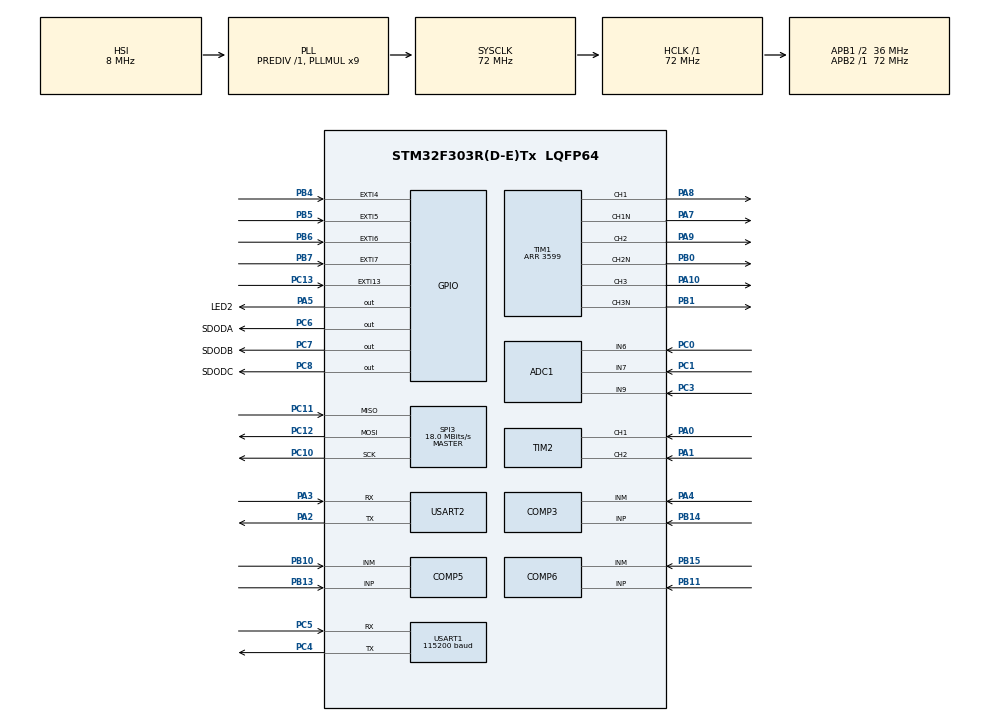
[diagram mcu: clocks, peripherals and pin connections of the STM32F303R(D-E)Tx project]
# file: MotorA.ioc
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ADC1.Channel-5\#ChannelRegularConversion=ADC_CHANNEL_6
ADC1.Channel-6\#ChannelRegularConversion=ADC_CHANNEL_7
ADC1.Channel-7\#ChannelRegularConversion=ADC_CHANNEL_9
ADC1.ClockPrescaler=ADC_CLOCK_SYNC_PCLK_DIV1
ADC1.ContinuousConvMode=DISABLE
ADC1.DMAContinuousRequests=ENABLE
ADC1.EOCSelection=ADC_EOC_SEQ_CONV
ADC1.EnableInjectedConversion=DISABLE
ADC1.EnableRegularConversion=ENABLE
ADC1.ExternalTrigConv=ADC_EXTERNALTRIGCONV_T1_TRGO2
ADC1.ExternalTrigConvEdge=ADC_EXTERNALTRIGCONVEDGE_FALLING
ADC1.NbrOfConversion=3
ADC1.NbrOfConversionFlag=1
ADC1.Offset-5\#ChannelRegularConversion=0
ADC1.Offset-6\#ChannelRegularConversion=0
ADC1.Offset-7\#ChannelRegularConversion=0
ADC1.OffsetNumber-5\#ChannelRegularConversion=ADC_OFFSET_NONE
ADC1.OffsetNumber-6\#ChannelRegularConversion=ADC_OFFSET_NONE
ADC1.OffsetNumber-7\#ChannelRegularConversion=ADC_OFFSET_NONE
ADC1.Rank-5\#ChannelRegularConversion=1
ADC1.Rank-6\#ChannelRegularConversion=2
ADC1.Rank-7\#ChannelRegularConversion=3
ADC1.SamplingTime-5\#ChannelRegularConversion=ADC_SAMPLETIME_2CYCLES_5
ADC1.SamplingTime-6\#ChannelRegularConversion=ADC_SAMPLETIME_2CYCLES_5
ADC1.SamplingTime-7\#ChannelRegularConversion=ADC_SAMPLETIME_2CYCLES_5
ADC1.master=1
Dma.ADC1.0.Direction=DMA_PERIPH_TO_MEMORY
Dma.ADC1.0.Instance=DMA1_Channel1
Dma.ADC1.0.MemDataAlignment=DMA_MDATAALIGN_HALFWORD
Dma.ADC1.0.MemInc=DMA_MINC_ENABLE
Dma.ADC1.0.Mode=DMA_CIRCULAR
Dma.ADC1.0.PeriphDataAlignment=DMA_PDATAALIGN_HALFWORD
Dma.ADC1.0.PeriphInc=DMA_PINC_DISABLE
Dma.ADC1.0.Priority=DMA_PRIORITY_HIGH
Dma.Request0=ADC1
Dma.Request1=USART1_TX
Dma.USART1_TX.1.Direction=DMA_MEMORY_TO_PERIPH
Dma.USART1_TX.1.Instance=DMA1_Channel4
Dma.USART1_TX.1.MemDataAlignment=DMA_MDATAALIGN_BYTE
Dma.USART1_TX.1.MemInc=DMA_MINC_ENABLE
Dma.USART1_TX.1.Mode=DMA_CIRCULAR
Dma.USART1_TX.1.PeriphDataAlignment=DMA_PDATAALIGN_BYTE
Dma.USART1_TX.1.PeriphInc=DMA_PINC_DISABLE
Dma.USART1_TX.1.Priority=DMA_PRIORITY_MEDIUM
Mcu.Family=STM32F3
Mcu.Name=STM32F303R(D-E)Tx
Mcu.Package=LQFP64
NVIC.DMA1_Channel1_IRQn=true\:0\:3\:true\:true\:true\:2\:false\:true
NVIC.DMA1_Channel4_IRQn=true\:1\:3\:true\:true\:true\:3\:false\:true
NVIC.PriorityGroup=NVIC_PRIORITYGROUP_1
NVIC.TIM1_TRG_COM_TIM17_IRQn=true\:0\:4\:true\:true\:true\:1\:true\:true
NVIC.USART1_IRQn=true\:0\:3\:false\:true\:true\:4\:true\:true
PA0.Signal=S_TIM2_CH1_ETR
PA1.Signal=S_TIM2_CH2
PA10.GPIO_Speed=GPIO_SPEED_FREQ_HIGH
PA10.Signal=S_TIM1_CH3
PA13.Mode=Serial_Wire
PA13.Signal=SYS_JTMS-SWDIO
PA14.Mode=Serial_Wire
PA14.Signal=SYS_JTCK-SWCLK
PA2.GPIO_Mode=GPIO_MODE_AF_PP
PA2.GPIO_ModeDefaultPP=GPIO_MODE_AF_PP
PA2.GPIO_PuPd=GPIO_NOPULL
PA2.GPIO_Speed=GPIO_SPEED_FREQ_HIGH
PA2.Mode=Asynchronous
PA2.Signal=USART2_TX
PA3.GPIO_Mode=GPIO_MODE_AF_PP
PA3.GPIO_ModeDefaultPP=GPIO_MODE_AF_PP
PA3.GPIO_PuPd=GPIO_NOPULL
PA3.GPIO_Speed=GPIO_SPEED_FREQ_HIGH
PA3.Mode=Asynchronous
PA3.Signal=USART2_RX
PA4.Mode=INM
PA4.Signal=COMP3_INM
PA5.GPIO_Label=LED2
PA5.GPIO_Mode=GPIO_MODE_OUTPUT_PP
PA5.GPIO_ModeDefaultOutputPP=GPIO_MODE_OUTPUT_PP
PA5.GPIO_PuPd=GPIO_NOPULL
PA5.GPIO_Speed=GPIO_SPEED_FREQ_HIGH
PA5.PinState=GPIO_PIN_SET
PA5.Signal=GPIO_Output
PA7.GPIO_Speed=GPIO_SPEED_FREQ_HIGH
PA7.Mode=PWM Generation1 CH1 CH1N
PA7.Signal=TIM1_CH1N
PA8.GPIO_Speed=GPIO_SPEED_FREQ_HIGH
PA8.Signal=S_TIM1_CH1
PA9.GPIO_Speed=GPIO_SPEED_FREQ_HIGH
PA9.Signal=S_TIM1_CH2
PB0.GPIO_Speed=GPIO_SPEED_FREQ_HIGH
PB0.Mode=PWM Generation2 CH2 CH2N
PB0.Signal=TIM1_CH2N
PB1.GPIO_Speed=GPIO_SPEED_FREQ_HIGH
PB1.Mode=PWM Generation3 CH3 CH3N
PB1.Signal=TIM1_CH3N
PB10.Mode=INM
PB10.Signal=COMP5_INM
PB11.Mode=INP
PB11.Signal=COMP6_INP
PB13.Mode=INP
PB13.Signal=COMP5_INP
PB14.Mode=INP
PB14.Signal=COMP3_INP
PB15.Mode=INM
PB15.Signal=COMP6_INM
PB3.Signal=SYS_JTDO-TRACESWO
PB4.Signal=GPXTI4
PB5.Signal=GPXTI5
PB6.Signal=GPXTI6
PB7.Signal=GPXTI7
PC0.Signal=ADCx_IN6
PC1.Signal=ADCx_IN7
PC10.Mode=Full_Duplex_Master
PC10.Signal=SPI3_SCK
PC11.Mode=Full_Duplex_Master
PC11.Signal=SPI3_MISO
PC12.Mode=Full_Duplex_Master
PC12.Signal=SPI3_MOSI
PC13.GPIO_ModeDefaultEXTI=GPIO_MODE_IT_RISING
PC13.GPIO_PuPd=GPIO_NOPULL
PC13.Signal=GPXTI13
PC14-OSC32_IN.Mode=LSE-External-Oscillator
PC14-OSC32_IN.Signal=RCC_OSC32_IN
PC15-OSC32_OUT.Mode=LSE-External-Oscillator
PC15-OSC32_OUT.Signal=RCC_OSC32_OUT
PC2.Signal=ADCx_IN8
PC3.Signal=ADCx_IN9
PC4.Mode=Asynchronous
PC4.Signal=USART1_TX
PC5.Mode=Asynchronous
PC5.Signal=USART1_RX
PC6.GPIO_Label=SDODA
PC6.GPIO_ModeDefaultOutputPP=GPIO_MODE_OUTPUT_OD
PC6.GPIO_PuPd=GPIO_PULLUP
PC6.PinState=GPIO_PIN_SET
PC6.Signal=GPIO_Output
PC7.GPIO_Label=SDODB
PC7.GPIO_ModeDefaultOutputPP=GPIO_MODE_OUTPUT_OD
PC7.GPIO_PuPd=GPIO_PULLUP
PC7.PinState=GPIO_PIN_SET
PC7.Signal=GPIO_Output
PC8.GPIO_Label=SDODC
PC8.GPIO_ModeDefaultOutputPP=GPIO_MODE_OUTPUT_OD
PC8.GPIO_PuPd=GPIO_PULLUP
PC8.PinState=GPIO_PIN_SET
PC8.Signal=GPIO_Output
PF0-OSC_IN.Mode=HSE-External-Clock-Source
PF0-OSC_IN.Signal=RCC_OSC_IN
PF1-OSC_OUT.Signal=RCC_OSC_OUT
ProjectManager.HeapSize=0x200
ProjectManager.StackSize=0x400
ProjectManager.TargetToolchain=MDK-ARM V5
RCC.AHBFreq_Value=72000000
RCC.APB1CLKDivider=RCC_HCLK_DIV2
RCC.APB1Freq_Value=36000000
RCC.APB1TimFreq_Value=72000000
RCC.APB2Freq_Value=72000000
RCC.APB2TimFreq_Value=72000000
RCC.CortexFreq_Value=72000000
RCC.HCLKFreq_Value=72000000
RCC.HSE_VALUE=8000000
RCC.HSI_VALUE=8000000
RCC.PLLM=8
RCC.PLLMUL=RCC_PLL_MUL9
RCC.PLLN=336
RCC.PLLP=RCC_PLLP_DIV4
RCC.PLLQ=7
RCC.RCC_PLLsource_Clock_Source_FROM_HSE=RCC_HSE_PREDIV_DIV2
RCC.SYSCLKFreq_VALUE=72000000
RCC.SYSCLKSourceVirtual=RCC_SYSCLKSOURCE_PLLCLK
RCC.USBFreq_Value=72000000
SH.ADCx_IN6.0=ADC1_IN6,IN6-Single-Ended
SH.ADCx_IN7.0=ADC1_IN7,IN7-Single-Ended
SH.ADCx_IN8.0=ADC1_IN8
SH.ADCx_IN9.0=ADC1_IN9,IN9-Single-Ended
SH.S_TIM1_CH1.0=TIM1_CH1,PWM Generation1 CH1 CH1N
SH.S_TIM1_CH2.0=TIM1_CH2,PWM Generation2 CH2 CH2N
SH.S_TIM1_CH3.0=TIM1_CH3,PWM Generation3 CH3 CH3N
SH.S_TIM2_CH1_ETR.0=TIM2_CH1,Encoder_Interface
SH.S_TIM2_CH2.0=TIM2_CH2,Encoder_Interface
SPI3.CalculateBaudRate=18.0 MBits/s
SPI3.Direction=SPI_DIRECTION_2LINES
SPI3.Mode=SPI_MODE_MASTER
SPI3.VirtualType=VM_MASTER
TIM1.AutoReloadPreload=TIM_AUTORELOAD_PRELOAD_ENABLE
TIM1.AutomaticOutput=TIM_AUTOMATICOUTPUT_ENABLE
TIM1.BreakPolarity=TIM_BREAKPOLARITY_HIGH
TIM1.BreakState=TIM_BREAK_DISABLE
TIM1.Channel-PWM\ Generation1\ CH1\ CH1N=TIM_CHANNEL_1
TIM1.Channel-PWM\ Generation2\ CH2\ CH2N=TIM_CHANNEL_2
TIM1.Channel-PWM\ Generation3\ CH3\ CH3N=TIM_CHANNEL_3
TIM1.Channel-PWM\ Generation4\ No\ Output=TIM_CHANNEL_4
TIM1.CounterMode=TIM_COUNTERMODE_CENTERALIGNED1
TIM1.DeadTime=5
TIM1.OCMode_PWM-PWM\ Generation1\ CH1\ CH1N=TIM_OCMODE_PWM1
TIM1.OCMode_PWM-PWM\ Generation2\ CH2\ CH2N=TIM_OCMODE_PWM1
TIM1.OCMode_PWM-PWM\ Generation3\ CH3\ CH3N=TIM_OCMODE_PWM1
TIM1.OCMode_PWM-PWM\ Generation4\ No\ Output=TIM_OCMODE_PWM2
TIM1.OCNPolarity_1=TIM_OCNPOLARITY_HIGH
TIM1.OCNPolarity_2=TIM_OCNPOLARITY_HIGH
TIM1.OCNPolarity_3=TIM_OCNPOLARITY_HIGH
TIM1.OCPolarity_1=TIM_OCPOLARITY_LOW
TIM1.OCPolarity_2=TIM_OCPOLARITY_LOW
TIM1.OCPolarity_3=TIM_OCPOLARITY_LOW
TIM1.OffStateIDLEMode=TIM_OSSI_ENABLE
TIM1.OffStateRunMode=TIM_OSSR_ENABLE
TIM1.Period=3599
TIM1.Pulse-PWM\ Generation4\ No\ Output=1
TIM1.RepetitionCounter=0
TIM1.TIM_MasterOutputTrigger=TIM_TRGO_UPDATE
TIM1.TIM_MasterOutputTrigger2=TIM_TRGO2_OC4REF_RISING_OC6REF_RISING
TIM1.TIM_MasterSlaveMode=TIM_MASTERSLAVEMODE_ENABLE
USART1.BaudRate=115200
USART1.Mode=MODE_TX
USART1.VirtualMode-Asynchronous=VM_ASYNC
USART2.VirtualMode-Asynchronous=VM_ASYNC
VP_TIM1_VS_ClockSourceINT.Mode=Internal
VP_TIM1_VS_ClockSourceITR.Mode=TriggerSource_ITR0
VP_TIM1_VS_ControllerModeReset.Mode=Reset Mode
VP_TIM1_VS_no_output4.Mode=PWM Generation4 No Output
board=NUCLEO-F303RE

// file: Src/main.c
/* USER CODE BEGIN Header */
/**
  ******************************************************************************
  * @file           : main.c
  * @brief          : Main program body
  ******************************************************************************
  * @attention
  *
  * <h2><center>&copy; Copyright (c) 2019 STMicroelectronics.
  * All rights reserved.</center></h2>
  *
  * This software component is licensed by ST under BSD 3-Clause license,
  * the "License"; You may not use this file except in compliance with the
  * License. You may obtain a copy of the License at:
  *                        opensource.org/licenses/BSD-3-Clause
  *
  ******************************************************************************
  */
/* USER CODE END Header */

#include "main.h"
#include "adc.h"
#include "comp.h"
#include "dma.h"
#include "spi.h"
#include "tim.h"
#include "usart.h"
#include "gpio.h"

/* USER CODE BEGIN Includes */
#include "control.h"
#include "switching.h"

/* USER CODE END Includes */

void SystemClock_Config(void);
static void MX_NVIC_Init(void);

/* USER CODE BEGIN 0 */

uint16_t Comp = 2001;//2000;  //all3600
uint16_t Samp_Offset = 250; //typical 250
volatile uint8_t HallValue = 0;
volatile uint8_t SwitchType = HALLOR_SWITCH;
uint16_t adc_buf[4];
uint8_t send_buf[8];

/* USER CODE END 0 */

int main(void)
{

  /* MCU Configuration--------------------------------------------------------*/

  /* Reset of all peripherals, Initializes the Flash interface and the Systick. */
  HAL_Init();

  /* Configure the system clock */
  SystemClock_Config();

  /* Initialize all configured peripherals */
  MX_GPIO_Init();
  MX_DMA_Init();
  MX_ADC1_Init();
  MX_TIM1_Init();
  MX_USART2_UART_Init();
  MX_COMP3_Init();
  MX_COMP5_Init();
  MX_COMP6_Init();
  MX_TIM2_Init();
  MX_SPI3_Init();
  MX_USART1_UART_Init();

  /* Initialize interrupts */
  MX_NVIC_Init();
  /* USER CODE BEGIN 2 */

	HAL_ADCEx_Calibration_Start(&hadc1, ADC_SINGLE_ENDED);
	HAL_Delay(1);
  HAL_ADC_Start_DMA(&hadc1,(uint32_t*)adc_buf,3);

	__HAL_TIM_SET_COMPARE(&htim1, TIM_CHANNEL_1, Comp);
	__HAL_TIM_SET_COMPARE(&htim1, TIM_CHANNEL_2, Comp);
	__HAL_TIM_SET_COMPARE(&htim1, TIM_CHANNEL_3, Comp);
	__HAL_TIM_SET_COMPARE(&htim1, TIM_CHANNEL_4, Comp-Samp_Offset);

	HAL_Delay(20);

	HAL_TIM_PWM_Start(&htim1, TIM_CHANNEL_1);
	HAL_TIMEx_PWMN_Start(&htim1, TIM_CHANNEL_1);
	HAL_TIM_PWM_Start(&htim1, TIM_CHANNEL_2);
	HAL_TIMEx_PWMN_Start(&htim1, TIM_CHANNEL_2);
	HAL_TIM_PWM_Start(&htim1, TIM_CHANNEL_3);
	HAL_TIMEx_PWMN_Start(&htim1, TIM_CHANNEL_3);
	HAL_TIM_PWM_Start(&htim1, TIM_CHANNEL_4);

	HAL_GPIO_WritePin(LED2_GPIO_Port, LED2_Pin, GPIO_PIN_RESET);

  /* USER CODE END 2 */

  /* Infinite loop */
  /* USER CODE BEGIN WHILE */
	HallValue = 1;

//	StartUp_begin();
//	HAL_GPIO_WritePin(GPIOC, SDODA_Pin|SDODB_Pin|SDODC_Pin, GPIO_PIN_RESET);
  while (1)
  {

    /* USER CODE END WHILE */

  }
}

void SystemClock_Config(void)
{
  RCC_OscInitTypeDef RCC_OscInitStruct = {0};
  RCC_ClkInitTypeDef RCC_ClkInitStruct = {0};
  RCC_PeriphCLKInitTypeDef PeriphClkInit = {0};

  /** Initializes the CPU, AHB and APB busses clocks
  */
  RCC_OscInitStruct.OscillatorType = RCC_OSCILLATORTYPE_HSI;
  RCC_OscInitStruct.HSIState = RCC_HSI_ON;
  RCC_OscInitStruct.HSICalibrationValue = RCC_HSICALIBRATION_DEFAULT;
  RCC_OscInitStruct.PLL.PLLState = RCC_PLL_ON;
  RCC_OscInitStruct.PLL.PLLSource = RCC_PLLSOURCE_HSI;
  RCC_OscInitStruct.PLL.PLLMUL = RCC_PLL_MUL9;
  RCC_OscInitStruct.PLL.PREDIV = RCC_PREDIV_DIV1;
  if (HAL_RCC_OscConfig(&RCC_OscInitStruct) != HAL_OK)
  {
    Error_Handler();
  }
  /** Initializes the CPU, AHB and APB busses clocks
  */
  RCC_ClkInitStruct.ClockType = RCC_CLOCKTYPE_HCLK|RCC_CLOCKTYPE_SYSCLK
                              |RCC_CLOCKTYPE_PCLK1|RCC_CLOCKTYPE_PCLK2;
  RCC_ClkInitStruct.SYSCLKSource = RCC_SYSCLKSOURCE_PLLCLK;
  RCC_ClkInitStruct.AHBCLKDivider = RCC_SYSCLK_DIV1;
  RCC_ClkInitStruct.APB1CLKDivider = RCC_HCLK_DIV2;
  RCC_ClkInitStruct.APB2CLKDivider = RCC_HCLK_DIV1;

  if (HAL_RCC_ClockConfig(&RCC_ClkInitStruct, FLASH_LATENCY_2) != HAL_OK)
  {
    Error_Handler();
  }
  PeriphClkInit.PeriphClockSelection = RCC_PERIPHCLK_USART1|RCC_PERIPHCLK_USART2
                              |RCC_PERIPHCLK_TIM1|RCC_PERIPHCLK_TIM2;
  PeriphClkInit.Usart1ClockSelection = RCC_USART1CLKSOURCE_PCLK2;
  PeriphClkInit.Usart2ClockSelection = RCC_USART2CLKSOURCE_PCLK1;
  PeriphClkInit.Tim1ClockSelection = RCC_TIM1CLK_HCLK;
  PeriphClkInit.Tim2ClockSelection = RCC_TIM2CLK_HCLK;
  if (HAL_RCCEx_PeriphCLKConfig(&PeriphClkInit) != HAL_OK)
  {
    Error_Handler();
  }
}

/**
  * @brief NVIC Configuration.
  * @retval None
  */
static void MX_NVIC_Init(void)
{
  /* TIM1_TRG_COM_TIM17_IRQn interrupt configuration */
  HAL_NVIC_SetPriority(TIM1_TRG_COM_TIM17_IRQn, 0, 4);
  HAL_NVIC_EnableIRQ(TIM1_TRG_COM_TIM17_IRQn);
  /* DMA1_Channel1_IRQn interrupt configuration */
  HAL_NVIC_SetPriority(DMA1_Channel1_IRQn, 0, 3);
  HAL_NVIC_EnableIRQ(DMA1_Channel1_IRQn);
  /* DMA1_Channel4_IRQn interrupt configuration */
  HAL_NVIC_SetPriority(DMA1_Channel4_IRQn, 1, 3);
  HAL_NVIC_EnableIRQ(DMA1_Channel4_IRQn);
  /* USART1_IRQn interrupt configuration */
  HAL_NVIC_SetPriority(USART1_IRQn, 0, 3);
  HAL_NVIC_EnableIRQ(USART1_IRQn);
}

/* USER CODE BEGIN 4 */

void Change_Data()
{
	uint8_t i;
	for(i=0; i<4; i++)
	{
		send_buf[i*2] = adc_buf[i]>>8;
		send_buf[i*2+1] = adc_buf[i]&0x00FF;
	}
}

void HAL_TIMEx_CommutationCallback(TIM_HandleTypeDef *htim)
{
	if(SwitchType == VECTOR_SWITCH) {Voltage_Vector_Convert(HallValue);}
	else if(SwitchType == HALLOR_SWITCH) {BLDC_Hall_Convert_Mode2(HallValue);}
	else{}
}

void HAL_ADC_ConvCpltCallback(ADC_HandleTypeDef* hadc)
{
//	Change_Data();
//	HAL_UART_Transmit_DMA(&huart1, send_buf, 8);
	controltask();
}

/* USER CODE END 4 */

void Error_Handler(void)
{
}

/************************ (C) COPYRIGHT STMicroelectronics *****END OF FILE****/
